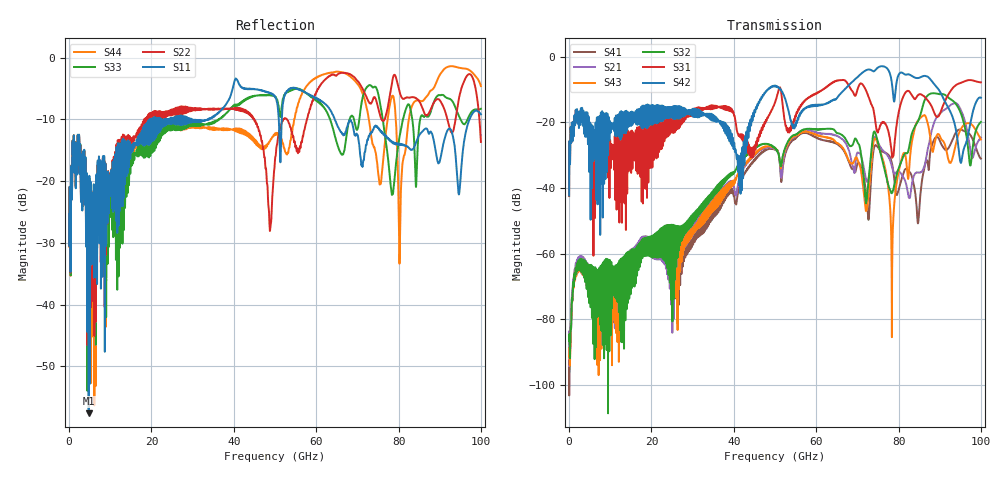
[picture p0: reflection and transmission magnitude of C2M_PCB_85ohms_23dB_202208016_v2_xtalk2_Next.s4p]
! Info: Touchstone file created by Circ.  Input file=Intel_C2M_200G_9p0in_202208016_staggered.circ
# Hz S RI R 50
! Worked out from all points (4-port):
!   10000 points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, 10 MHz to 100 GHz, reference 50 ohm
!   strongest paths, dB at 10 MHz, 25.01 GHz, 50.01 GHz, 75.01 GHz, 100 GHz:
!     S42: -42.3, -18.6, -9.0, -3.3, -12.5
!     S31: -42.5, -23.0, -14.0, -23.0, -7.8
!     S32: -85.0, -53.8, -28.0, -26.1, -19.9
!     S43: -88.8, -54.0, -27.9, -26.7, -25.2
!     S21: -94.2, -56.7, -28.2, -26.0, -24.6
!     S41: -92.5, -55.9, -28.2, -27.6, -31.0
!   lowest |S11| = -57.6 dB at 4.77 GHz (marker M1), VSWR 1.00, Z = 50 + j0.131 ohm
!   |S11| at or under -10 dB: start of sweep to 19.56 GHz; 29.64 GHz to 33.64 GHz (3.995 GHz wide, 12.6 % of centre); 64.49 GHz to 97.26 GHz (32.76 GHz wide, 40.5 % of centre)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
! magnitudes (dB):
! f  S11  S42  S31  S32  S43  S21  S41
! 10 MHz  -30.5  -42.3  -42.5  -85.0  -88.8  -94.2  -92.5
! 4.77 GHz  -57.6  -18.8  -19.9  -63.5  -66.5  -63.4  -65.7
! 56.59 GHz  -5.4  -16.7  -14.1  -22.4  -23.0  -22.4  -23.3
! 74.52 GHz  -11.1  -3.9  -20.9  -23.8  -25.2  -24.7  -27.0
! 78.43 GHz  -13.7  -8.4  -30.5  -41.5  -67.2  -33.5  -32.6
! 85.13 GHz  -12.5  -6.3  -11.4  -18.4  -18.9  -35.3  -44.6
! 100 GHz  -9.2  -12.5  -7.8  -19.9  -25.2  -24.6  -31.0
